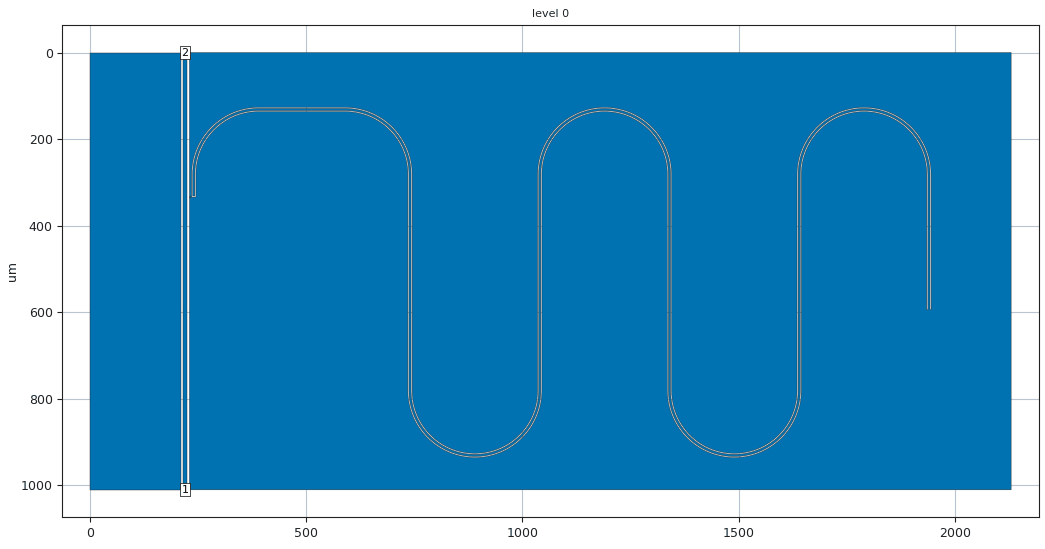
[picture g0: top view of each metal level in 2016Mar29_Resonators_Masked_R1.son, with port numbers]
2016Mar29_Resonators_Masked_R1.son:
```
FTYP SONPROJ 15 ! Sonnet Project File
VER 16.52
HEADER
LIC calt2.2.43068 b4ae2bd1247e DESKTOP-SL82IK9 Michael
DAT 04/05/2016 00:37:59
BUILT_BY_CREATED xgeom 16.52 03/26/2016 21:21:12
BUILT_BY_SAVED xgeom 16.52
MDATE 04/05/2016 00:37:59
HDATE 04/05/2016 00:37:59
END HEADER
DIM
FREQ GHZ
IND NH
LNG UM
ANG DEG
CON /OH
CAP PF
RES OH
END DIM
FREQ
ABS 5.9 6.1 
END FREQ
CONTROL
ABS
OPTIONS  -d 
SPEED 0
CACHE_ABS 1
TARG_ABS 300
Q_ACC N
END CONTROL
GEO
TMET "Lossless" 0 SUP 0 0 0 0
BMET "Lossless" 0 SUP 0 0 0 0
BOX 1 2130 1011 4260 2022 20 0
      1000 1 1 0 0 0 0 "Air"
      500 11.9 1 5e-006 0 0 0 "Silicon (intrinsic)"
LORGN 0 1011 U 
POR1 STD
POLY 46 1
2
1 50 0 0 0 220 1011 
POR1 STD
POLY 46 1
0
2 50 0 0 0 220 0 
NUM 3
0 5 -1 N 46 1 1 100 100 0 0 0 Y
225 0
215 0
215 1011
225 1011
225 0
END
0 1217 -1 N 63 1 1 100 100 0 0 0 Y
2130 0
230 0
230 334
235 334
235 281.5
235.08 276.53
235.32 271.57
235.72 266.62
236.27 261.68
236.99 256.76
237.86 251.87
238.89 247.01
240.07 242.18
241.41 237.4
242.9 232.66
244.54 227.97
246.33 223.33
248.27 218.76
250.35 214.25
252.58 209.81
254.95 205.44
257.45 201.15
260.1 196.94
262.87 192.82
265.78 188.79
268.82 184.86
271.98 181.03
275.26 177.29
278.66 173.67
282.17 170.16
285.79 166.76
289.53 163.48
293.36 160.32
297.29 157.28
301.32 154.37
305.44 151.6
309.65 148.95
313.94 146.45
318.31 144.08
322.75 141.85
327.26 139.77
331.83 137.83
336.47 136.04
341.16 134.4
345.9 132.91
350.68 131.57
355.51 130.39
360.37 129.36
365.26 128.49
370.18 127.77
375.12 127.22
380.07 126.82
385.03 126.58
390 126.5
590 126.5
594.97 126.58
599.93 126.82
604.88 127.22
609.82 127.77
614.74 128.49
619.63 129.36
624.49 130.39
629.32 131.57
634.1 132.91
638.84 134.4
643.53 136.04
648.17 137.83
652.74 139.77
657.25 141.85
661.69 144.08
666.06 146.45
670.35 148.95
674.56 151.6
678.68 154.37
682.71 157.28
686.64 160.32
690.48 163.48
694.21 166.76
697.83 170.16
701.34 173.67
704.74 177.29
708.02 181.03
711.18 184.86
714.22 188.79
717.13 192.82
719.9 196.94
722.55 201.15
725.05 205.44
727.42 209.81
729.65 214.25
731.73 218.76
733.67 223.33
735.46 227.97
737.1 232.66
738.59 237.4
739.93 242.18
741.11 247.01
742.14 251.87
743.01 256.76
743.73 261.68
744.28 266.62
744.68 271.57
744.92 276.53
745 281.5
745 781.5
745.3 790.79
746.19 800.04
747.67 809.22
749.74 818.28
752.39 827.19
755.6 835.91
759.36 844.41
763.66 852.65
768.48 860.6
773.8 868.23
779.59 875.49
785.84 882.37
792.52 888.84
799.59 894.87
807.04 900.42
814.83 905.5
822.93 910.06
831.31 914.09
839.92 917.58
848.74 920.51
857.73 922.86
866.86 924.64
876.08 925.83
885.35 926.43
894.65 926.43
903.92 925.83
913.14 924.64
922.27 922.86
931.26 920.51
940.08 917.58
948.69 914.09
957.07 910.06
965.17 905.5
972.96 900.42
980.41 894.87
987.48 888.84
994.16 882.37
1000.41 875.49
1006.2 868.23
1011.52 860.6
1016.34 852.65
1020.64 844.41
1024.4 835.91
1027.61 827.19
1030.26 818.28
1032.33 809.22
1033.81 800.04
1034.7 790.79
1035 781.5
1035 281.5
1035.32 271.57
1036.27 261.68
1037.86 251.87
1040.07 242.18
1042.9 232.66
1046.33 223.33
1050.35 214.25
1054.95 205.44
1060.1 196.94
1065.78 188.79
1071.98 181.03
1078.66 173.67
1085.79 166.76
1093.36 160.32
1101.32 154.37
1109.65 148.95
1118.31 144.08
1127.26 139.77
1136.47 136.04
1145.9 132.91
1155.51 130.39
1165.26 128.49
1175.12 127.22
1185.03 126.58
1194.97 126.58
1204.88 127.22
1214.74 128.49
1224.49 130.39
1234.1 132.91
1243.53 136.04
1252.74 139.77
1261.69 144.08
1270.35 148.95
1278.68 154.37
1286.64 160.32
1294.21 166.76
1301.34 173.67
1308.02 181.03
1314.22 188.79
1319.9 196.94
1325.05 205.44
1329.65 214.25
1333.67 223.33
1337.1 232.66
1339.93 242.18
1342.14 251.87
1343.73 261.68
1344.68 271.57
1345 281.5
1345 781.5
1345.3 790.79
1346.19 800.04
1347.67 809.22
1349.74 818.28
1352.39 827.19
1355.6 835.91
1359.36 844.41
1363.66 852.65
1368.48 860.6
1373.8 868.23
1379.59 875.49
1385.84 882.37
1392.52 888.84
1399.59 894.87
1407.04 900.42
1414.83 905.5
1422.93 910.06
1431.31 914.09
1439.92 917.58
1448.74 920.51
1457.73 922.86
1466.86 924.64
1476.08 925.83
1485.35 926.43
1494.65 926.43
1503.92 925.83
1513.14 924.64
1522.27 922.86
1531.26 920.51
1540.08 917.58
1548.69 914.09
1557.07 910.06
1565.17 905.5
1572.96 900.42
1580.41 894.87
1587.48 888.84
1594.16 882.37
1600.41 875.49
1606.2 868.23
1611.52 860.6
1616.34 852.65
1620.64 844.41
1624.4 835.91
1627.61 827.19
1630.26 818.28
1632.33 809.22
1633.81 800.04
1634.7 790.79
1635 781.5
1635 281.5
1635.32 271.57
1636.27 261.68
1637.86 251.87
1640.07 242.18
1642.9 232.66
1646.33 223.33
1650.35 214.25
1654.95 205.44
1660.1 196.94
1665.78 188.79
1671.98 181.03
1678.66 173.67
1685.79 166.76
1693.36 160.32
1701.32 154.37
1709.65 148.95
1718.31 144.08
1727.26 139.77
1736.47 136.04
1745.9 132.91
1755.51 130.39
1765.26 128.49
1775.12 127.22
1785.03 126.58
1794.97 126.58
1804.88 127.22
1814.74 128.49
1824.49 130.39
1834.1 132.91
1843.53 136.04
1852.74 139.77
1861.69 144.08
1870.35 148.95
1878.68 154.37
1886.64 160.32
1894.21 166.76
1901.34 173.67
1908.02 181.03
1914.22 188.79
1919.9 196.94
1925.05 205.44
1929.65 214.25
1933.67 223.33
1937.1 232.66
1939.93 242.18
1942.14 251.87
1943.73 261.68
1944.68 271.57
1945 281.5
1945 594.68
1942.5 594.68
1942.5 281.5
1942.19 271.73
1941.25 262
1939.69 252.35
1937.51 242.82
1934.73 233.45
1931.36 224.27
1927.4 215.33
1922.88 206.67
1917.81 198.31
1912.22 190.29
1906.12 182.64
1899.55 175.41
1892.53 168.61
1885.08 162.27
1877.25 156.42
1869.05 151.09
1860.54 146.29
1851.73 142.05
1842.67 138.38
1833.39 135.3
1823.93 132.82
1814.34 130.95
1804.64 129.7
1794.89 129.08
1785.11 129.08
1775.36 129.7
1765.66 130.95
1756.07 132.82
1746.61 135.3
1737.33 138.38
1728.27 142.05
1719.46 146.29
1710.95 151.09
1702.75 156.42
1694.92 162.27
1687.47 168.61
1680.45 175.41
1673.88 182.64
1667.78 190.29
1662.19 198.31
1657.12 206.67
1652.6 215.33
1648.65 224.27
1645.27 233.45
1642.49 242.82
1640.31 252.35
1638.75 262
1637.81 271.73
1637.5 281.5
1637.5 781.5
1637.2 790.95
1636.29 800.36
1634.78 809.7
1632.68 818.91
1629.99 827.98
1626.72 836.85
1622.89 845.5
1618.52 853.88
1613.62 861.97
1608.21 869.72
1602.31 877.11
1595.96 884.11
1589.16 890.69
1581.97 896.82
1574.39 902.47
1566.46 907.63
1558.22 912.27
1549.71 916.38
1540.94 919.92
1531.97 922.9
1522.82 925.3
1513.54 927.11
1504.16 928.32
1494.73 928.92
1485.27 928.92
1475.84 928.32
1466.46 927.11
1457.18 925.3
1448.03 922.9
1439.06 919.92
1430.29 916.38
1421.78 912.27
1413.54 907.63
1405.61 902.47
1398.03 896.82
1390.84 890.69
1384.04 884.11
1377.69 877.11
1371.79 869.72
1366.38 861.97
1361.48 853.88
1357.11 845.5
1353.28 836.85
1350.01 827.98
1347.32 818.91
1345.22 809.7
1343.71 800.36
1342.8 790.95
1342.5 781.5
1342.5 281.5
1342.19 271.73
1341.25 262
1339.69 252.35
1337.51 242.82
1334.73 233.45
1331.36 224.27
1327.4 215.33
1322.88 206.67
1317.81 198.31
1312.22 190.29
1306.12 182.64
1299.55 175.41
1292.53 168.61
1285.08 162.27
1277.25 156.42
1269.05 151.09
1260.54 146.29
1251.73 142.05
1242.67 138.38
1233.39 135.3
1223.93 132.82
1214.34 130.95
1204.64 129.7
1194.89 129.08
1185.11 129.08
1175.36 129.7
1165.66 130.95
1156.07 132.82
1146.61 135.3
1137.33 138.38
1128.27 142.05
1119.46 146.29
1110.95 151.09
1102.75 156.42
1094.92 162.27
1087.47 168.61
1080.45 175.41
1073.88 182.64
1067.78 190.29
1062.19 198.31
1057.12 206.67
1052.6 215.33
1048.65 224.27
1045.27 233.45
1042.49 242.82
1040.31 252.35
1038.75 262
1037.81 271.73
1037.5 281.5
1037.5 781.5
1037.2 790.95
1036.29 800.36
1034.78 809.7
1032.68 818.91
1029.99 827.98
1026.72 836.85
1022.89 845.5
1018.52 853.88
1013.62 861.97
1008.21 869.72
1002.31 877.11
995.96 884.11
989.16 890.69
981.97 896.82
974.39 902.47
966.46 907.63
958.22 912.27
949.71 916.38
940.94 919.92
931.97 922.9
922.82 925.3
913.54 927.11
904.16 928.32
894.73 928.92
885.27 928.92
875.84 928.32
866.46 927.11
857.18 925.3
848.03 922.9
839.06 919.92
830.29 916.38
821.78 912.27
813.54 907.63
805.61 902.47
798.04 896.82
790.84 890.69
784.04 884.11
777.69 877.11
771.79 869.72
766.38 861.97
761.48 853.88
757.11 845.5
753.28 836.85
750.01 827.98
747.32 818.91
745.22 809.7
743.71 800.36
742.8 790.95
742.5 781.5
742.5 281.5
742.42 276.61
742.19 271.73
741.8 266.86
741.25 262
740.55 257.16
739.69 252.35
738.68 247.57
737.51 242.82
736.2 238.11
734.73 233.45
733.12 228.83
731.36 224.27
729.45 219.77
727.4 215.33
725.21 210.96
722.88 206.67
720.41 202.44
717.81 198.31
715.08 194.25
712.22 190.29
709.23 186.42
706.12 182.64
702.89 178.97
699.55 175.41
696.09 171.95
692.53 168.61
688.86 165.38
685.08 162.27
681.21 159.28
677.25 156.42
673.19 153.69
669.06 151.09
664.83 148.62
660.54 146.29
656.17 144.1
651.73 142.05
647.23 140.14
642.67 138.38
638.05 136.77
633.39 135.3
628.68 133.99
623.93 132.82
619.15 131.81
614.34 130.95
609.5 130.25
604.64 129.7
599.77 129.31
594.89 129.08
590 129
390 129
385.11 129.08
380.23 129.31
375.36 129.7
370.5 130.25
365.66 130.95
360.85 131.81
356.07 132.82
351.32 133.99
346.61 135.3
341.95 136.77
337.33 138.38
332.77 140.14
328.27 142.05
323.83 144.1
319.46 146.29
315.17 148.62
310.94 151.09
306.81 153.69
302.75 156.42
298.79 159.28
294.92 162.27
291.15 165.38
287.47 168.61
283.91 171.95
280.45 175.41
277.11 178.97
273.88 182.64
270.77 186.42
267.78 190.29
264.92 194.25
262.19 198.31
259.59 202.44
257.12 206.67
254.79 210.96
252.6 215.33
250.55 219.77
248.65 224.27
246.88 228.83
245.27 233.45
243.8 238.11
242.49 242.82
241.32 247.57
240.31 252.35
239.45 257.16
238.75 262
238.2 266.86
237.81 271.73
237.58 276.61
237.5 281.5
237.5 331.5
242.5 331.5
242.5 281.5
242.58 276.77
242.8 272.05
243.18 267.34
243.71 262.64
244.39 257.96
245.22 253.3
246.2 248.68
247.32 244.09
248.6 239.53
250.01 235.02
251.58 230.56
253.28 226.15
255.12 221.79
257.11 217.5
259.23 213.28
261.48 209.12
263.87 205.04
266.38 201.03
269.03 197.11
271.79 193.28
274.68 189.53
277.69 185.89
280.81 182.34
284.04 178.89
287.39 175.54
290.84 172.31
294.39 169.19
298.04 166.18
301.78 163.29
305.61 160.53
309.53 157.88
313.54 155.37
317.62 152.98
321.78 150.73
326 148.61
330.29 146.62
334.65 144.78
339.06 143.08
343.52 141.51
348.03 140.1
352.59 138.82
357.18 137.7
361.8 136.72
366.46 135.89
371.14 135.21
375.84 134.68
380.55 134.3
385.27 134.08
390 134
590 134
594.73 134.08
599.45 134.3
604.16 134.68
608.86 135.21
613.54 135.89
618.2 136.72
622.82 137.7
627.41 138.82
631.97 140.1
636.48 141.51
640.94 143.08
645.35 144.78
649.71 146.62
654 148.61
658.22 150.73
662.38 152.98
666.46 155.37
670.47 157.88
674.39 160.53
678.22 163.29
681.97 166.18
685.61 169.19
689.16 172.31
692.61 175.54
695.96 178.89
699.19 182.34
702.31 185.89
705.32 189.53
708.21 193.28
710.98 197.11
713.62 201.03
716.13 205.04
718.52 209.12
720.77 213.28
722.89 217.5
724.88 221.79
726.72 226.15
728.42 230.56
729.99 235.02
731.4 239.53
732.68 244.09
733.8 248.68
734.78 253.3
735.61 257.96
736.29 262.64
736.82 267.34
737.2 272.05
737.42 276.77
737.5 281.5
737.5 781.5
737.81 791.27
738.75 801
740.31 810.65
742.49 820.18
745.27 829.55
748.65 838.73
752.6 847.67
757.12 856.33
762.19 864.69
767.78 872.71
773.88 880.35
780.45 887.59
787.47 894.39
794.92 900.73
802.75 906.58
810.94 911.91
819.46 916.71
828.27 920.95
837.33 924.62
846.61 927.7
856.07 930.18
865.66 932.05
875.36 933.3
885.11 933.92
894.89 933.92
904.64 933.3
914.34 932.05
923.93 930.18
933.39 927.7
942.67 924.62
951.73 920.95
960.54 916.71
969.06 911.91
977.25 906.58
985.08 900.73
992.53 894.39
999.55 887.59
1006.12 880.35
1012.22 872.71
1017.81 864.69
1022.88 856.33
1027.4 847.67
1031.36 838.73
1034.73 829.55
1037.51 820.18
1039.69 810.65
1041.25 801
1042.19 791.27
1042.5 781.5
1042.5 281.5
1042.8 272.05
1043.71 262.64
1045.22 253.3
1047.32 244.09
1050.01 235.02
1053.28 226.15
1057.11 217.5
1061.48 209.12
1066.38 201.03
1071.79 193.28
1077.69 185.89
1084.04 178.89
1090.84 172.31
1098.03 166.18
1105.61 160.53
1113.54 155.37
1121.78 150.73
1130.29 146.62
1139.06 143.08
1148.03 140.1
1157.18 137.7
1166.46 135.89
1175.84 134.68
1185.27 134.08
1194.73 134.08
1204.16 134.68
1213.54 135.89
1222.82 137.7
1231.97 140.1
1240.94 143.08
1249.71 146.62
1258.22 150.73
1266.46 155.37
1274.39 160.53
1281.97 166.18
1289.16 172.31
1295.96 178.89
1302.31 185.89
1308.21 193.28
1313.62 201.03
1318.52 209.12
1322.89 217.5
1326.72 226.15
1329.99 235.02
1332.68 244.09
1334.78 253.3
1336.29 262.64
1337.2 272.05
1337.5 281.5
1337.5 781.5
1337.81 791.27
1338.75 801
1340.31 810.65
1342.49 820.18
1345.27 829.55
1348.65 838.73
1352.6 847.67
1357.12 856.33
1362.19 864.69
1367.78 872.71
1373.88 880.35
1380.45 887.59
1387.47 894.39
1394.92 900.73
1402.75 906.58
1410.95 911.91
1419.46 916.71
1428.27 920.95
1437.33 924.62
1446.61 927.7
1456.07 930.18
1465.66 932.05
1475.36 933.3
1485.11 933.92
1494.89 933.92
1504.64 933.3
1514.34 932.05
1523.93 930.18
1533.39 927.7
1542.67 924.62
1551.73 920.95
1560.54 916.71
1569.05 911.91
1577.25 906.58
1585.08 900.73
1592.53 894.39
1599.55 887.59
1606.12 880.35
1612.22 872.71
1617.81 864.69
1622.88 856.33
1627.4 847.67
1631.36 838.73
1634.73 829.55
1637.51 820.18
1639.69 810.65
1641.25 801
1642.19 791.27
1642.5 781.5
1642.5 281.5
1642.8 272.05
1643.71 262.64
1645.22 253.3
1647.32 244.09
1650.01 235.02
1653.28 226.15
1657.11 217.5
1661.48 209.12
1666.38 201.03
1671.79 193.28
1677.69 185.89
1684.04 178.89
1690.84 172.31
1698.03 166.18
1705.61 160.53
1713.54 155.37
1721.78 150.73
1730.29 146.62
1739.06 143.08
1748.03 140.1
1757.18 137.7
1766.46 135.89
1775.84 134.68
1785.27 134.08
1794.73 134.08
1804.16 134.68
1813.54 135.89
1822.82 137.7
1831.97 140.1
1840.94 143.08
1849.71 146.62
1858.22 150.73
1866.46 155.37
1874.39 160.53
1881.97 166.18
1889.16 172.31
1895.96 178.89
1902.31 185.89
1908.21 193.28
1913.62 201.03
1918.52 209.12
1922.89 217.5
1926.72 226.15
1929.99 235.02
1932.68 244.09
1934.78 253.3
1936.29 262.64
1937.2 272.05
1937.5 281.5
1937.5 594.68
1935 594.68
1935 281.5
1934.7 272.21
1933.81 262.96
1932.33 253.78
1930.26 244.72
1927.61 235.81
1924.4 227.09
1920.64 218.59
1916.34 210.35
1911.52 202.4
1906.2 194.77
1900.41 187.51
1894.16 180.63
1887.48 174.16
1880.41 168.13
1872.96 162.57
1865.17 157.5
1857.07 152.94
1848.69 148.91
1840.08 145.42
1831.26 142.49
1822.27 140.13
1813.14 138.36
1803.92 137.17
1794.65 136.57
1785.35 136.57
1776.08 137.17
1766.86 138.36
1757.73 140.13
1748.74 142.49
1739.92 145.42
1731.31 148.91
1722.93 152.94
1714.83 157.5
1707.04 162.57
1699.59 168.13
1692.52 174.16
1685.84 180.63
1679.59 187.51
1673.8 194.77
1668.48 202.4
1663.66 210.35
1659.36 218.59
1655.6 227.09
1652.39 235.81
1649.74 244.72
1647.67 253.78
1646.19 262.96
1645.3 272.21
1645 281.5
1645 781.5
1644.68 791.43
1643.73 801.32
1642.14 811.13
1639.93 820.82
1637.1 830.34
1633.67 839.67
1629.65 848.75
1625.05 857.56
1619.9 866.06
1614.22 874.21
1608.02 881.97
1601.34 889.33
1594.21 896.24
1586.64 902.68
1578.68 908.63
1570.35 914.05
1561.69 918.92
1552.74 923.23
1543.53 926.96
1534.1 930.09
1524.49 932.61
1514.74 934.51
1504.88 935.78
1494.97 936.42
1485.03 936.42
1475.12 935.78
1465.26 934.51
1455.51 932.61
1445.9 930.09
1436.47 926.96
1427.26 923.23
1418.31 918.92
1409.65 914.05
1401.32 908.63
1393.36 902.68
1385.79 896.24
1378.66 889.33
1371.98 881.97
1365.78 874.21
1360.1 866.06
1354.95 857.56
1350.35 848.75
1346.33 839.67
1342.9 830.34
1340.07 820.82
1337.86 811.13
1336.27 801.32
1335.32 791.43
1335 781.5
1335 281.5
1334.7 272.21
1333.81 262.96
1332.33 253.78
1330.26 244.72
1327.61 235.81
1324.4 227.09
1320.64 218.59
1316.34 210.35
1311.52 202.4
1306.2 194.77
1300.41 187.51
1294.16 180.63
1287.48 174.16
1280.41 168.13
1272.96 162.57
1265.17 157.5
1257.07 152.94
1248.69 148.91
1240.08 145.42
1231.26 142.49
1222.27 140.13
1213.14 138.36
1203.92 137.17
1194.65 136.57
1185.35 136.57
1176.08 137.17
1166.86 138.36
1157.73 140.13
1148.74 142.49
1139.92 145.42
1131.31 148.91
1122.93 152.94
1114.83 157.5
1107.04 162.57
1099.59 168.13
1092.52 174.16
1085.84 180.63
1079.59 187.51
1073.8 194.77
1068.48 202.4
1063.66 210.35
1059.36 218.59
1055.6 227.09
1052.39 235.81
1049.74 244.72
1047.67 253.78
1046.19 262.96
1045.3 272.21
1045 281.5
1045 781.5
1044.68 791.43
1043.73 801.32
1042.14 811.13
1039.93 820.82
1037.1 830.34
1033.67 839.67
1029.65 848.75
1025.05 857.56
1019.9 866.06
1014.22 874.21
1008.02 881.97
1001.34 889.33
994.21 896.24
986.64 902.68
978.68 908.63
970.35 914.05
961.69 918.92
952.74 923.23
943.53 926.96
934.1 930.09
924.49 932.61
914.74 934.51
904.88 935.78
894.97 936.42
885.03 936.42
875.12 935.78
865.26 934.51
855.51 932.61
845.9 930.09
836.47 926.96
827.26 923.23
818.31 918.92
809.65 914.05
801.32 908.63
793.36 902.68
785.79 896.24
778.66 889.33
771.98 881.97
765.78 874.21
760.1 866.06
754.95 857.56
750.35 848.75
746.33 839.67
742.9 830.34
740.07 820.82
737.86 811.13
736.27 801.32
735.32 791.43
735 781.5
735 281.5
734.93 276.85
734.7 272.21
734.33 267.58
733.81 262.96
733.14 258.36
732.33 253.78
731.37 249.23
730.26 244.72
729.01 240.24
727.61 235.81
726.08 231.42
724.4 227.09
722.59 222.81
720.64 218.59
718.56 214.43
716.34 210.35
714 206.33
711.52 202.4
708.93 198.54
706.2 194.77
703.37 191.09
700.41 187.51
697.34 184.02
694.16 180.63
690.87 177.34
687.48 174.16
683.99 171.09
680.41 168.13
676.73 165.3
672.96 162.57
669.1 159.98
665.17 157.5
661.15 155.16
657.07 152.94
652.91 150.86
648.69 148.91
644.41 147.1
640.08 145.42
635.69 143.89
631.26 142.49
626.78 141.24
622.27 140.13
617.72 139.17
613.14 138.36
608.54 137.69
603.92 137.17
599.29 136.8
594.65 136.57
590 136.5
390 136.5
385.35 136.57
380.71 136.8
376.08 137.17
371.46 137.69
366.86 138.36
362.28 139.17
357.73 140.13
353.22 141.24
348.74 142.49
344.31 143.89
339.92 145.42
335.59 147.1
331.31 148.91
327.09 150.86
322.93 152.94
318.85 155.16
314.83 157.5
310.9 159.98
307.04 162.57
303.27 165.3
299.59 168.13
296.01 171.09
292.52 174.16
289.13 177.34
285.84 180.63
282.66 184.02
279.59 187.51
276.63 191.09
273.8 194.77
271.08 198.54
268.48 202.4
266 206.33
263.66 210.35
261.44 214.43
259.36 218.59
257.41 222.81
255.6 227.09
253.92 231.42
252.39 235.81
250.99 240.24
249.74 244.72
248.64 249.23
247.67 253.78
246.86 258.36
246.19 262.96
245.67 267.58
245.3 272.21
245.07 276.85
245 281.5
245 334
235 334
230 334
230 334
230 1011
2130 1011
2130 0
END
0 5 -1 N 66 1 1 100 100 0 0 0 Y
210 0
0 0
0 1011
210 1011
210 0
END
END GEO
OPT
MAX 100
VARS
END
END OPT
VARSWP
END VARSWP
QSG
IMPORT YES
EXTRA_METAL NO
UNITS NO
ALIGN NO
REF NO
VIEW_RES NO
METALS NO
USED NO
END QSG
```
